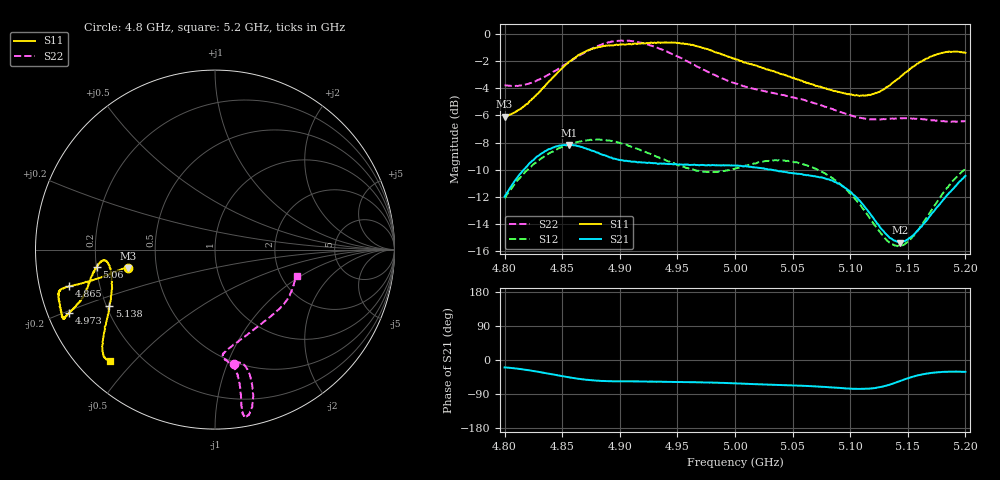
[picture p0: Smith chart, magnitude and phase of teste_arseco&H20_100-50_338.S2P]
! Network Analyzer HP8722D
! Hewlett-Packard
! Data name: Linha & Wilkinson
! Saver's name: Rodrigo Anjos
! Comments: Teste da utilização de aquisição
! continua pelo VNA HP8722D
! Time and date: 6/5/2025 15:23
!  Frequency  S11  S21  S12  S22
# HZ  S  MA R 50
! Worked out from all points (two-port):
!   401 points, 4.8 GHz to 5.2 GHz, reference 50 ohm
!   highest |S21| = -8.17 dB at 4.856 GHz (marker M1); lowest = -15.4 dB at 5.143 GHz (marker M2)
!   |S21| within 3 dB of the highest: 4.806 GHz to 5.093 GHz (286.8 MHz wide, 5.79 % of centre); 5.191893 GHz to end of sweep
!   lowest |S11| = -6.1 dB at 4.8 GHz (marker M3), VSWR 2.97, Z = 17 - j4.58 ohm
!   |S11| at or under -10 dB: nowhere
!   |S22| runs from -6.5 to -0.5 dB; largest |S21 - S12| = 0.62
!   S11 on the Smith chart (normalised r, x): 4.8 GHz: 0.34, -0.09; 4.865 GHz: 0.09, -0.12; 4.973 GHz: 0.06, -0.21; 5.06 GHz: 0.20, -0.07; 5.138 GHz: 0.21, -0.24; 5.2 GHz: 0.10, -0.43
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4.8e9  0.4965 -168.2  0.2519 -19.6  0.2484 -140.8  0.6474 -80.4
4.829e9  0.603 -166.9  0.3552 -31.0  0.3411 -145.0  0.6774 -75.2
4.856e9  0.7903 -165.7  0.3903 -45.6  0.3916 -150.0  0.7888 -74.7
4.865e9  0.8389 -166.0  0.3852 -49.7  0.4015 -151.6  0.8326 -75.2
4.867e9  0.8477 -165.8  0.3838 -50.6  0.4031 -151.9  0.8427 -75.4
4.883e9  0.8965 -165.1  0.3614 -55.0  0.4082 -154.6  0.9093 -77.1
4.9e9  0.9122 -162.5  0.3433 -56.3  0.397 -156.5  0.9431 -79.1
4.934e9  0.9285 -156.2  0.3329 -57.5  0.3513 -155.6  0.8836 -80.4
4.973e9  0.8868 -156.6  0.3289 -59.3  0.3109 -145.9  0.7368 -79.7
5e9  0.809 -159.0  0.3275 -61.7  0.3195 -137.1  0.6578 -81.3
5.036e9  0.722 -165.6  0.3141 -65.9  0.3425 -134.3  0.6029 -85.6
5.06e9  0.6652 -171.7  0.3028 -68.1  0.3306 -136.1  0.5711 -84.3
5.067e9  0.6528 -172.9  0.3003 -69.0  0.323 -136.6  0.5594 -82.7
5.086e9  0.6162 -174.4  0.2856 -72.8  0.2914 -138.4  0.5252 -75.4
5.102e9  0.5963 -171.7  0.2578 -75.9  0.2534 -138.7  0.4994 -65.9
5.116e9  0.5967 -165.6  0.2215 -75.9  0.213 -135.5  0.4857 -55.7
5.134e9  0.645 -154.2  0.1781 -65.4  0.1706 -120.9  0.4873 -43.3
5.138e9  0.6667 -151.9  0.1736 -61.2  0.1671 -115.7  0.4874 -40.8
5.143e9  0.6909 -149.1  0.1707 -55.8  0.1658 -109.0  0.4894 -38.1
5.154e9  0.7548 -144.4  0.1804 -44.6  0.1791 -95.0  0.4874 -32.3
5.173e9  0.835 -138.8  0.2233 -33.3  0.2331 -80.8  0.4814 -24.3
5.2e9  0.8513 -133.4  0.3002 -31.3  0.319 -76.8  0.477 -17.6
